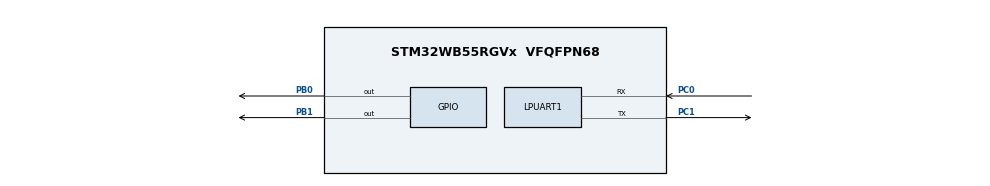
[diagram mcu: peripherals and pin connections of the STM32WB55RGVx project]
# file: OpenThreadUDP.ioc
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Dma.LPUART1_TX.0.Direction=DMA_MEMORY_TO_PERIPH
Dma.LPUART1_TX.0.EventEnable=DISABLE
Dma.LPUART1_TX.0.Instance=DMA1_Channel1
Dma.LPUART1_TX.0.MemDataAlignment=DMA_MDATAALIGN_BYTE
Dma.LPUART1_TX.0.MemInc=DMA_MINC_ENABLE
Dma.LPUART1_TX.0.Mode=DMA_NORMAL
Dma.LPUART1_TX.0.PeriphDataAlignment=DMA_PDATAALIGN_BYTE
Dma.LPUART1_TX.0.PeriphInc=DMA_PINC_DISABLE
Dma.LPUART1_TX.0.Polarity=HAL_DMAMUX_REQ_GEN_RISING
Dma.LPUART1_TX.0.Priority=DMA_PRIORITY_LOW
Dma.LPUART1_TX.0.RequestNumber=1
Dma.LPUART1_TX.0.SignalID=NONE
Dma.LPUART1_TX.0.SyncEnable=DISABLE
Dma.LPUART1_TX.0.SyncPolarity=HAL_DMAMUX_SYNC_NO_EVENT
Dma.LPUART1_TX.0.SyncRequestNumber=1
Dma.LPUART1_TX.0.SyncSignalID=NONE
Dma.Request0=LPUART1_TX
Mcu.Family=STM32WB
Mcu.Name=STM32WB55RGVx
Mcu.Package=VFQFPN68
NVIC.DMA1_Channel1_IRQn=true\:0\:0\:false\:false\:true\:false\:true
NVIC.HSEM_IRQn=true\:0\:0\:false\:false\:true\:false\:true
NVIC.PriorityGroup=NVIC_PRIORITYGROUP_4
OSC_IN.Mode=HSE-External-Oscillator
OSC_IN.Signal=RCC_OSC_IN
OSC_OUT.Mode=HSE-External-Oscillator
OSC_OUT.Signal=RCC_OSC_OUT
PB0.Signal=GPIO_Output
PB1.Signal=GPIO_Output
PC0.Mode=Asynchronous
PC0.Signal=LPUART1_RX
PC1.Mode=Asynchronous
PC1.Signal=LPUART1_TX
PC14-OSC32_IN.Mode=LSE-External-Oscillator
PC14-OSC32_IN.Signal=RCC_OSC32_IN
PC15-OSC32_OUT.Mode=LSE-External-Oscillator
PC15-OSC32_OUT.Signal=RCC_OSC32_OUT
ProjectManager.HeapSize=0x200
ProjectManager.StackSize=0x400
ProjectManager.TargetToolchain=STM32CubeIDE
RCC.ADCFreq_Value=128000000
RCC.AHBFreq_Value=32000000
RCC.APB1Freq_Value=32000000
RCC.APB1TimFreq_Value=32000000
RCC.APB2Freq_Value=32000000
RCC.APB2TimFreq_Value=32000000
RCC.APB3Freq_Value=16000000
RCC.CortexFreq_Value=32000000
RCC.HCLKFreq_Value=32000000
RCC.HSE_VALUE=32000000
RCC.HSI48_VALUE=48000000
RCC.HSI_VALUE=16000000
RCC.MSIClockRange=RCC_MSIRANGE_10
RCC.PLLSourceVirtual=RCC_PLLSOURCE_HSE
RCC.RTCClockSelection=RCC_RTCCLKSOURCE_LSE
RCC.SYSCLKFreq_VALUE=32000000
RCC.USBFreq_Value=128000000
RCC.VCOOutputFreq_Value=256000000
RF1.Mode=RF1_Activate
RF1.Signal=RF_RF1
STM32_WPAN.CFG_CLI_UART=hw_lpuart1
STM32_WPAN.CFG_HW_LPUART1_ENABLED=1
STM32_WPAN.THREAD_APPLICATION=FTD
VP_HSEM_VS_HSEM.Mode=HSEM_Activate
VP_RTC_VS_RTC_Activate.Mode=RTC_Enabled
VP_SEQUENCER_VS_SEQUENCER.Mode=SEQUENCER_Enabled
VP_STM32_WPAN_VS_THREAD.Mode=STM32_WPAN_Enabled
VP_TINY_LPM_VS_TINY_LPM.Mode=TINY_LPM_Enabled
board=custom

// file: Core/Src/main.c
/* USER CODE BEGIN Header */
/**
  ******************************************************************************
  * @file           : main.c
  * @brief          : Main program body
  ******************************************************************************
  * @attention
  *
  * <h2><center>&copy; Copyright (c) 2021 STMicroelectronics.
  * All rights reserved.</center></h2>
  *
  * This software component is licensed by ST under Ultimate Liberty license
  * SLA0044, the "License"; You may not use this file except in compliance with
  * the License. You may obtain a copy of the License at:
  *                             www.st.com/SLA0044
  *
  ******************************************************************************
  */
/* USER CODE END Header */
#include "main.h"
#include "app_entry.h"
#include "app_common.h"

/* USER CODE BEGIN Includes */
#include "stm32_lpm.h"
#include "stm32_seq.h"
#include "dbg_trace.h"
#include "hw_conf.h"
#include "otp.h"
/* USER CODE END Includes */

UART_HandleTypeDef hlpuart1;
DMA_HandleTypeDef hdma_lpuart1_tx;

RTC_HandleTypeDef hrtc;

/* USER CODE BEGIN PV */
uint32_t child_notif = 0;
/* USER CODE END PV */

void SystemClock_Config(void);
static void MX_GPIO_Init(void);
static void MX_DMA_Init(void);
static void MX_RF_Init(void);
static void MX_RTC_Init(void);
/* USER CODE BEGIN PFP */
void PeriphClock_Config(void);
static void Reset_Device( void );
static void Reset_IPCC( void );
static void Reset_BackupDomain( void );
static void Init_Exti( void );
static void Config_HSE(void);
/* USER CODE END PFP */

int main(void)
{
  /* USER CODE BEGIN 1 */
	__HAL_FLASH_CLEAR_FLAG(FLASH_FLAG_OPTVERR);
  /* USER CODE END 1 */

  /* MCU Configuration--------------------------------------------------------*/

  /* Reset of all peripherals, Initializes the Flash interface and the Systick. */
  HAL_Init();

  /* USER CODE BEGIN Init */
	Reset_Device();
	Config_HSE();
  /* USER CODE END Init */

  /* Configure the system clock */
  SystemClock_Config();

  /* USER CODE BEGIN SysInit */
	PeriphClock_Config();
	Init_Exti();
  /* USER CODE END SysInit */

  /* Initialize all configured peripherals */
  MX_GPIO_Init();
  MX_DMA_Init();
  MX_LPUART1_UART_Init();
  MX_RF_Init();
  MX_RTC_Init();

  /* Init code for STM32_WPAN */
  APPE_Init();
  /* Infinite loop */
  /* USER CODE BEGIN WHILE */
  while (1)
  {
		if(child_notif == 1){
			UTIL_SEQ_SetTask(TASK_UDP_SEND, CFG_SCH_PRIO_1);
		}
		UTIL_SEQ_Run( UTIL_SEQ_DEFAULT );
    /* USER CODE END WHILE */

  }
}

void SystemClock_Config(void)
{
  RCC_OscInitTypeDef RCC_OscInitStruct = {0};
  RCC_ClkInitTypeDef RCC_ClkInitStruct = {0};
  RCC_PeriphCLKInitTypeDef PeriphClkInitStruct = {0};

  /** Configure LSE Drive Capability
  */
  HAL_PWR_EnableBkUpAccess();
  __HAL_RCC_LSEDRIVE_CONFIG(RCC_LSEDRIVE_LOW);
  /** Configure the main internal regulator output voltage
  */
  __HAL_PWR_VOLTAGESCALING_CONFIG(PWR_REGULATOR_VOLTAGE_SCALE1);
  /** Initializes the RCC Oscillators according to the specified parameters
  * in the RCC_OscInitTypeDef structure.
  */
  RCC_OscInitStruct.OscillatorType = RCC_OSCILLATORTYPE_HSI|RCC_OSCILLATORTYPE_HSE
                              |RCC_OSCILLATORTYPE_LSE|RCC_OSCILLATORTYPE_MSI;
  RCC_OscInitStruct.HSEState = RCC_HSE_ON;
  RCC_OscInitStruct.LSEState = RCC_LSE_ON;
  RCC_OscInitStruct.HSIState = RCC_HSI_ON;
  RCC_OscInitStruct.MSIState = RCC_MSI_ON;
  RCC_OscInitStruct.HSICalibrationValue = RCC_HSICALIBRATION_DEFAULT;
  RCC_OscInitStruct.MSICalibrationValue = RCC_MSICALIBRATION_DEFAULT;
  RCC_OscInitStruct.MSIClockRange = RCC_MSIRANGE_10;
  RCC_OscInitStruct.PLL.PLLState = RCC_PLL_NONE;
  if (HAL_RCC_OscConfig(&RCC_OscInitStruct) != HAL_OK)
  {
    Error_Handler();
  }
  /** Configure the SYSCLKSource, HCLK, PCLK1 and PCLK2 clocks dividers
  */
  RCC_ClkInitStruct.ClockType = RCC_CLOCKTYPE_HCLK4|RCC_CLOCKTYPE_HCLK2
                              |RCC_CLOCKTYPE_HCLK|RCC_CLOCKTYPE_SYSCLK
                              |RCC_CLOCKTYPE_PCLK1|RCC_CLOCKTYPE_PCLK2;
  RCC_ClkInitStruct.SYSCLKSource = RCC_SYSCLKSOURCE_MSI;
  RCC_ClkInitStruct.AHBCLKDivider = RCC_SYSCLK_DIV1;
  RCC_ClkInitStruct.APB1CLKDivider = RCC_HCLK_DIV1;
  RCC_ClkInitStruct.APB2CLKDivider = RCC_HCLK_DIV1;
  RCC_ClkInitStruct.AHBCLK2Divider = RCC_SYSCLK_DIV1;
  RCC_ClkInitStruct.AHBCLK4Divider = RCC_SYSCLK_DIV1;

  if (HAL_RCC_ClockConfig(&RCC_ClkInitStruct, FLASH_LATENCY_1) != HAL_OK)
  {
    Error_Handler();
  }
  /** Initializes the peripherals clocks
  */
  PeriphClkInitStruct.PeriphClockSelection = RCC_PERIPHCLK_SMPS|RCC_PERIPHCLK_RFWAKEUP
                              |RCC_PERIPHCLK_RTC|RCC_PERIPHCLK_LPUART1;
  PeriphClkInitStruct.Lpuart1ClockSelection = RCC_LPUART1CLKSOURCE_PCLK1;
  PeriphClkInitStruct.RTCClockSelection = RCC_RTCCLKSOURCE_LSE;
  PeriphClkInitStruct.RFWakeUpClockSelection = RCC_RFWKPCLKSOURCE_HSE_DIV1024;
  PeriphClkInitStruct.SmpsClockSelection = RCC_SMPSCLKSOURCE_HSI;
  PeriphClkInitStruct.SmpsDivSelection = RCC_SMPSCLKDIV_RANGE1;
  if (HAL_RCCEx_PeriphCLKConfig(&PeriphClkInitStruct) != HAL_OK)
  {
    Error_Handler();
  }
}

void MX_LPUART1_UART_Init(void)
{

  hlpuart1.Instance = LPUART1;
  hlpuart1.Init.BaudRate = 115200;
  hlpuart1.Init.WordLength = UART_WORDLENGTH_8B;
  hlpuart1.Init.StopBits = UART_STOPBITS_1;
  hlpuart1.Init.Parity = UART_PARITY_NONE;
  hlpuart1.Init.Mode = UART_MODE_TX_RX;
  hlpuart1.Init.HwFlowCtl = UART_HWCONTROL_NONE;
  hlpuart1.Init.OneBitSampling = UART_ONE_BIT_SAMPLE_DISABLE;
  hlpuart1.Init.ClockPrescaler = UART_PRESCALER_DIV1;
  hlpuart1.AdvancedInit.AdvFeatureInit = UART_ADVFEATURE_NO_INIT;
  hlpuart1.FifoMode = UART_FIFOMODE_DISABLE;
  if (HAL_UART_Init(&hlpuart1) != HAL_OK)
  {
    Error_Handler();
  }
  if (HAL_UARTEx_SetTxFifoThreshold(&hlpuart1, UART_TXFIFO_THRESHOLD_1_8) != HAL_OK)
  {
    Error_Handler();
  }
  if (HAL_UARTEx_SetRxFifoThreshold(&hlpuart1, UART_RXFIFO_THRESHOLD_1_8) != HAL_OK)
  {
    Error_Handler();
  }
  if (HAL_UARTEx_DisableFifoMode(&hlpuart1) != HAL_OK)
  {
    Error_Handler();
  }

}

static void MX_RF_Init(void)
{

}

static void MX_RTC_Init(void)
{

  /** Initialize RTC Only
  */
  hrtc.Instance = RTC;
  hrtc.Init.HourFormat = RTC_HOURFORMAT_24;
  hrtc.Init.AsynchPrediv = CFG_RTC_ASYNCH_PRESCALER;
  hrtc.Init.SynchPrediv = CFG_RTC_SYNCH_PRESCALER;
  hrtc.Init.OutPut = RTC_OUTPUT_DISABLE;
  hrtc.Init.OutPutPolarity = RTC_OUTPUT_POLARITY_HIGH;
  hrtc.Init.OutPutType = RTC_OUTPUT_TYPE_OPENDRAIN;
  hrtc.Init.OutPutRemap = RTC_OUTPUT_REMAP_NONE;
  if (HAL_RTC_Init(&hrtc) != HAL_OK)
  {
    Error_Handler();
  }

}

static void MX_DMA_Init(void)
{

  /* DMA controller clock enable */
  __HAL_RCC_DMAMUX1_CLK_ENABLE();
  __HAL_RCC_DMA1_CLK_ENABLE();

  /* DMA interrupt init */
  /* DMA1_Channel1_IRQn interrupt configuration */
  HAL_NVIC_SetPriority(DMA1_Channel1_IRQn, 0, 0);
  HAL_NVIC_EnableIRQ(DMA1_Channel1_IRQn);

}

static void MX_GPIO_Init(void)
{
  GPIO_InitTypeDef GPIO_InitStruct = {0};

  /* GPIO Ports Clock Enable */
  __HAL_RCC_GPIOC_CLK_ENABLE();
  __HAL_RCC_GPIOB_CLK_ENABLE();

  /*Configure GPIO pin Output Level */
  HAL_GPIO_WritePin(GPIOB, GPIO_PIN_0|GPIO_PIN_1, GPIO_PIN_RESET);

  /*Configure GPIO pins : PB0 PB1 */
  GPIO_InitStruct.Pin = GPIO_PIN_0|GPIO_PIN_1;
  GPIO_InitStruct.Mode = GPIO_MODE_OUTPUT_PP;
  GPIO_InitStruct.Pull = GPIO_NOPULL;
  GPIO_InitStruct.Speed = GPIO_SPEED_FREQ_LOW;
  HAL_GPIO_Init(GPIOB, &GPIO_InitStruct);

}

/* USER CODE BEGIN 4 */
void PeriphClock_Config(void)
{
  #if (CFG_USB_INTERFACE_ENABLE != 0)
  RCC_PeriphCLKInitTypeDef PeriphClkInitStruct = { 0 };
  RCC_CRSInitTypeDef RCC_CRSInitStruct = { 0 };

  /**
   * This prevents the CPU2 to disable the HSI48 oscillator when
   * it does not use anymore the RNG IP
   */
  LL_HSEM_1StepLock( HSEM, 5 );

  LL_RCC_HSI48_Enable();

  while(!LL_RCC_HSI48_IsReady());

  /* Select HSI48 as USB clock source */
  PeriphClkInitStruct.PeriphClockSelection = RCC_PERIPHCLK_USB;
  PeriphClkInitStruct.UsbClockSelection = RCC_USBCLKSOURCE_HSI48;
  HAL_RCCEx_PeriphCLKConfig(&PeriphClkInitStruct);

  /*Configure the clock recovery system (CRS)**********************************/

  /* Enable CRS Clock */
  __HAL_RCC_CRS_CLK_ENABLE();

  /* Default Synchro Signal division factor (not divided) */
  RCC_CRSInitStruct.Prescaler = RCC_CRS_SYNC_DIV1;

  /* Set the SYNCSRC[1:0] bits according to CRS_Source value */
  RCC_CRSInitStruct.Source = RCC_CRS_SYNC_SOURCE_USB;

  /* HSI48 is synchronized with USB SOF at 1KHz rate */
  RCC_CRSInitStruct.ReloadValue = RCC_CRS_RELOADVALUE_DEFAULT;
  RCC_CRSInitStruct.ErrorLimitValue = RCC_CRS_ERRORLIMIT_DEFAULT;

  RCC_CRSInitStruct.Polarity = RCC_CRS_SYNC_POLARITY_RISING;

  /* Set the TRIM[5:0] to the default value*/
  RCC_CRSInitStruct.HSI48CalibrationValue = RCC_CRS_HSI48CALIBRATION_DEFAULT;

  /* Start automatic synchronization */
  HAL_RCCEx_CRSConfig(&RCC_CRSInitStruct);
#endif

  return;
}
static void Config_HSE(void)
{
    OTP_ID0_t * p_otp;

  /**
   * Read HSE_Tuning from OTP
   */
  p_otp = (OTP_ID0_t *) OTP_Read(0);
  if (p_otp)
  {
    LL_RCC_HSE_SetCapacitorTuning(p_otp->hse_tuning);
  }

  return;
}

static void Reset_Device( void )
{
#if ( CFG_HW_RESET_BY_FW == 1 )
  Reset_BackupDomain();

  Reset_IPCC();
#endif

  return;
}

static void Reset_IPCC( void )
{
  LL_AHB3_GRP1_EnableClock(LL_AHB3_GRP1_PERIPH_IPCC);

  LL_C1_IPCC_ClearFlag_CHx(
      IPCC,
      LL_IPCC_CHANNEL_1 | LL_IPCC_CHANNEL_2 | LL_IPCC_CHANNEL_3 | LL_IPCC_CHANNEL_4
      | LL_IPCC_CHANNEL_5 | LL_IPCC_CHANNEL_6);

  LL_C2_IPCC_ClearFlag_CHx(
      IPCC,
      LL_IPCC_CHANNEL_1 | LL_IPCC_CHANNEL_2 | LL_IPCC_CHANNEL_3 | LL_IPCC_CHANNEL_4
      | LL_IPCC_CHANNEL_5 | LL_IPCC_CHANNEL_6);

  LL_C1_IPCC_DisableTransmitChannel(
      IPCC,
      LL_IPCC_CHANNEL_1 | LL_IPCC_CHANNEL_2 | LL_IPCC_CHANNEL_3 | LL_IPCC_CHANNEL_4
      | LL_IPCC_CHANNEL_5 | LL_IPCC_CHANNEL_6);

  LL_C2_IPCC_DisableTransmitChannel(
      IPCC,
      LL_IPCC_CHANNEL_1 | LL_IPCC_CHANNEL_2 | LL_IPCC_CHANNEL_3 | LL_IPCC_CHANNEL_4
      | LL_IPCC_CHANNEL_5 | LL_IPCC_CHANNEL_6);

  LL_C1_IPCC_DisableReceiveChannel(
      IPCC,
      LL_IPCC_CHANNEL_1 | LL_IPCC_CHANNEL_2 | LL_IPCC_CHANNEL_3 | LL_IPCC_CHANNEL_4
      | LL_IPCC_CHANNEL_5 | LL_IPCC_CHANNEL_6);

  LL_C2_IPCC_DisableReceiveChannel(
      IPCC,
      LL_IPCC_CHANNEL_1 | LL_IPCC_CHANNEL_2 | LL_IPCC_CHANNEL_3 | LL_IPCC_CHANNEL_4
      | LL_IPCC_CHANNEL_5 | LL_IPCC_CHANNEL_6);

  return;
}

static void Reset_BackupDomain( void )
{
  if ((LL_RCC_IsActiveFlag_PINRST() != FALSE) && (LL_RCC_IsActiveFlag_SFTRST() == FALSE))
  {
    HAL_PWR_EnableBkUpAccess(); /**< Enable access to the RTC registers */

    /**
     *  Write twice the value to flush the APB-AHB bridge
     *  This bit shall be written in the register before writing the next one
     */
    HAL_PWR_EnableBkUpAccess();

    __HAL_RCC_BACKUPRESET_FORCE();
    __HAL_RCC_BACKUPRESET_RELEASE();
  }

  return;
}

static void Init_Exti( void )
{
  /**< Disable all wakeup interrupt on CPU1  except IPCC(36), HSEM(38) */
  LL_EXTI_DisableIT_0_31(~0);
  LL_EXTI_DisableIT_32_63( (~0) & (~(LL_EXTI_LINE_36 | LL_EXTI_LINE_38)) );

  return;
}
/* USER CODE END 4 */

void Error_Handler(void)
{
  __disable_irq();
  while (1)
  {
  }
}

/************************ (C) COPYRIGHT STMicroelectronics *****END OF FILE****/
